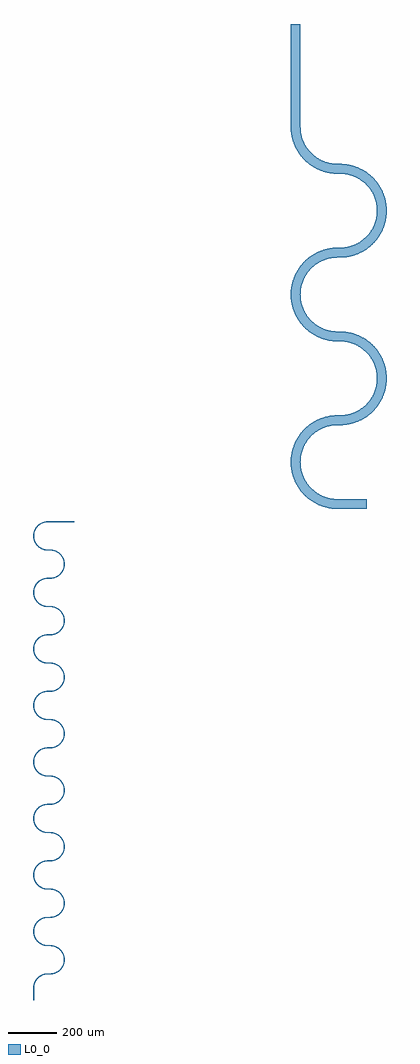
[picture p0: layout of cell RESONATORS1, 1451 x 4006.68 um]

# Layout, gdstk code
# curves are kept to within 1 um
import gdstk
lib = gdstk.Library(unit=1e-6, precision=1e-09)
def P(c, l, *ps):  # polygons
    for p in ps: c.add(gdstk.Polygon(p, *l))
L0_0 = (0, 0)

resonators1 = lib.new_cell('RESONATORS1')
P(resonators1, L0_0, [(1496.954,2524),(1388.5,2524),(1380.274,2523.398),(1374.209,2522.163),(1368.316,2520.272),(1362.666,2517.748),(1357.325,2514.621),(1349.285,2508.175),(1345.071,2503.642),(1341.379,2498.675),(1337.342,2491.482),(1333.837,2481.791),(1332.339,2473.679),(1332.151,2463.376),(1333.352,2455.215),(1335.728,2447.316),(1339.229,2439.848),(1345.071,2431.358),(1350.796,2425.42),(1357.325,2420.379),(1364.518,2416.342),(1370.257,2414.026),(1380.274,2411.602),(1386.437,2411.038),(1405.008,2410.643),(1411.437,2409.577),(1417.128,2408),(1384.157,2408.159),(1375.563,2409.423),(1367.245,2411.926),(1357.504,2416.711),(1348.795,2423.186),(1341.406,2431.135),(1335.584,2440.294),(1331.523,2450.358),(1329.357,2460.992),(1329,2467.5),(1329.357,2474.008),(1331.523,2484.642),(1335.584,2494.706),(1338.877,2500.33),(1342.765,2505.561),(1350.439,2513.235),(1355.67,2517.123),(1361.294,2520.416),(1367.245,2523.074),(1373.45,2525.065),(1379.837,2526.366),(1386.327,2526.96),(1496.954,2527)],
  [(1417.711,2407.813),(1423.755,2405.374),(1429.496,2402.289),(1438.205,2395.814),(1442.814,2391.205),(1446.891,2386.121),(1450.387,2380.62),(1453.261,2374.771),(1456.577,2364.437),(1457.643,2358.008),(1458,2351.5),(1457.643,2344.992),(1456.577,2338.563),(1453.261,2328.229),(1448.123,2318.67),(1441.334,2310.203),(1433.121,2303.109),(1427.62,2299.613),(1421.771,2296.739),(1413.55,2293.935),(1405.008,2292.357),(1369.289,2291.813),(1375.563,2293.577),(1381.992,2294.643),(1400.563,2295.038),(1406.726,2295.602),(1414.778,2297.396),(1422.482,2300.342),(1431.375,2305.549),(1439.175,2312.285),(1445.621,2320.325),(1450.5,2329.403),(1453.163,2337.209),(1454.398,2343.274),(1455,2351.5),(1454.661,2357.679),(1453.648,2363.785),(1451.974,2369.743),(1449.658,2375.482),(1445.621,2382.675),(1441.929,2387.642),(1436.204,2393.58),(1431.375,2397.451),(1426.152,2400.771),(1420.597,2403.5),(1412.791,2406.163),(1406.726,2407.398),(1398.5,2408)],
  [(1382.321,2291.661),(1376.215,2290.648),(1370.257,2288.974),(1364.518,2286.658),(1359.067,2283.728),(1353.969,2280.22),(1349.285,2276.175),(1345.071,2271.642),(1341.379,2266.675),(1338.252,2261.334),(1335.728,2255.684),(1333.837,2249.791),(1332.602,2243.726),(1332.038,2237.563),(1332.151,2231.376),(1332.94,2225.238),(1334.396,2219.222),(1336.5,2213.403),(1339.229,2207.848),(1345.071,2199.358),(1352.358,2192.071),(1357.325,2188.379),(1362.666,2185.252),(1370.257,2182.026),(1378.238,2179.94),(1386.437,2179.038),(1405.008,2178.643),(1411.437,2177.577),(1418.859,2175.398),(1406.726,2175.398),(1400.563,2175.962),(1381.992,2176.357),(1371.358,2178.523),(1361.294,2182.584),(1355.67,2185.877),(1350.439,2189.765),(1342.765,2197.439),(1338.877,2202.67),(1335.584,2208.294),(1331.523,2218.358),(1329.99,2224.693),(1329.159,2231.157),(1329.04,2237.673),(1329.634,2244.163),(1330.935,2250.55),(1333.739,2258.771),(1336.613,2264.62),(1340.109,2270.121),(1344.186,2275.205),(1350.439,2281.235),(1355.67,2285.123),(1361.294,2288.416),(1369.289,2291.813)],
  [(1419.755,2175.074),(1429.496,2170.289),(1434.865,2166.594),(1439.797,2162.334),(1446.891,2154.121),(1450.387,2148.62),(1453.261,2142.771),(1456.577,2132.437),(1457.643,2126.008),(1458,2119.5),(1457.643,2112.992),(1456.577,2106.563),(1454.813,2100.289),(1452.374,2094.245),(1446.891,2084.879),(1439.797,2076.666),(1431.33,2069.877),(1421.771,2064.739),(1413.55,2061.935),(1405.008,2060.357),(1384.376,2059.849),(1376.215,2058.648),(1366.189,2058.648),(1373.45,2061.065),(1381.992,2062.643),(1400.563,2063.038),(1406.726,2063.602),(1412.791,2064.837),(1420.597,2067.5),(1429.675,2072.379),(1437.715,2078.825),(1444.451,2086.625),(1449.658,2095.518),(1453.163,2105.209),(1454.398,2111.274),(1454.962,2117.437),(1454.398,2127.726),(1453.163,2133.791),(1451.272,2139.684),(1447.771,2147.152),(1444.451,2152.375),(1440.58,2157.204),(1434.642,2162.929),(1427.933,2167.728),(1420.597,2171.5),(1412.791,2174.163),(1406.726,2175.398),(1418.859,2175.398)],
  [(1374.209,2058.163),(1368.316,2056.272),(1362.666,2053.748),(1357.325,2050.621),(1352.358,2046.929),(1347.825,2042.715),(1343.78,2038.031),(1340.272,2032.933),(1337.342,2027.482),(1335.026,2021.743),(1333.352,2015.785),(1332.339,2009.679),(1332,2003.5),(1332.94,1993.238),(1334.396,1987.222),(1336.5,1981.403),(1341.379,1972.325),(1347.825,1964.285),(1355.625,1957.549),(1364.518,1952.342),(1372.222,1949.396),(1380.274,1947.602),(1386.437,1947.038),(1400.673,1946.96),(1409.307,1946.01),(1415.642,1944.477),(1423.755,1941.374),(1415.495,1941.374),(1408.762,1943.06),(1402.624,1943.849),(1381.992,1944.357),(1373.45,1945.935),(1365.229,1948.739),(1355.67,1953.877),(1347.203,1960.666),(1340.109,1968.879),(1336.613,1974.38),(1333.739,1980.229),(1331.523,1986.358),(1329.99,1992.693),(1329.159,1999.157),(1329.04,2005.673),(1329.634,2012.163),(1330.935,2018.55),(1332.926,2024.755),(1335.584,2030.706),(1338.877,2036.33),(1342.765,2041.561),(1348.795,2047.814),(1353.879,2051.891),(1359.38,2055.387),(1366.189,2058.648),(1376.215,2058.648)],
  [(1425.706,1940.416),(1431.33,1937.123),(1436.561,1933.235),(1444.235,1925.561),(1448.123,1920.33),(1451.416,1914.706),(1455.477,1904.642),(1457.643,1894.008),(1458,1887.5),(1457.643,1880.992),(1455.477,1870.358),(1453.261,1864.229),(1450.387,1858.38),(1444.235,1849.439),(1436.561,1841.765),(1429.496,1836.711),(1419.755,1831.926),(1411.437,1829.423),(1405.008,1828.357),(1384.376,1827.849),(1376.215,1826.648),(1368.714,1824.416),(1361.294,1824.416),(1369.289,1827.813),(1377.693,1830.01),(1386.327,1830.96),(1404.679,1831.339),(1412.791,1832.837),(1420.597,1835.5),(1429.675,1840.379),(1436.204,1845.42),(1441.929,1851.358),(1447.771,1859.848),(1451.974,1869.257),(1454.398,1879.274),(1454.962,1885.437),(1454.849,1891.624),(1453.163,1901.791),(1450.5,1909.597),(1447.771,1915.152),(1443.22,1922.031),(1439.175,1926.715),(1434.642,1930.929),(1427.933,1935.728),(1422.482,1938.658),(1415.495,1941.374),(1423.755,1941.374)],
  [(1368.316,1824.272),(1362.666,1821.748),(1357.325,1818.621),(1349.285,1812.175),(1345.071,1807.642),(1341.379,1802.675),(1338.252,1797.334),(1335.728,1791.684),(1333.837,1785.791),(1332.602,1779.726),(1332.038,1773.563),(1332.151,1767.376),(1333.837,1757.209),(1335.728,1751.316),(1338.252,1745.666),(1343.78,1736.969),(1350.796,1729.42),(1357.325,1724.379),(1366.403,1719.5),(1374.209,1716.837),(1382.321,1715.339),(1400.673,1714.96),(1409.307,1714.01),(1417.711,1711.813),(1427.41,1707.5),(1420.597,1707.5),(1412.791,1710.163),(1404.679,1711.661),(1386.327,1712.04),(1379.837,1712.634),(1373.45,1713.935),(1367.245,1715.926),(1357.504,1720.711),(1348.795,1727.186),(1341.406,1735.135),(1335.584,1744.294),(1332.926,1750.245),(1330.935,1756.45),(1329.634,1762.837),(1329.04,1769.327),(1329.159,1775.843),(1329.99,1782.307),(1331.523,1788.642),(1333.739,1794.771),(1336.613,1800.62),(1340.109,1806.121),(1344.186,1811.205),(1350.439,1817.235),(1355.67,1821.123),(1361.294,1824.416)],
  [(1427.62,1707.387),(1436.561,1701.235),(1441.334,1696.797),(1445.594,1691.865),(1451.416,1682.706),(1454.074,1676.755),(1456.065,1670.55),(1457.841,1659.843),(1457.96,1653.327),(1457.366,1646.837),(1456.065,1640.45),(1454.074,1634.245),(1449.289,1624.504),(1444.235,1617.439),(1436.561,1609.765),(1429.496,1604.711),(1419.755,1599.926),(1411.437,1597.423),(1405.008,1596.357),(1386.437,1595.962),(1380.274,1595.398),(1370.257,1592.974),(1362.666,1589.748),(1356.653,1589.748),(1365.229,1594.261),(1375.563,1597.577),(1384.157,1598.841),(1404.679,1599.339),(1412.791,1600.837),(1418.684,1602.728),(1426.152,1606.229),(1434.642,1612.071),(1441.929,1619.358),(1446.728,1626.067),(1451.272,1635.316),(1453.163,1641.209),(1454.398,1647.274),(1454.962,1657.563),(1453.648,1667.785),(1451.974,1673.743),(1449.658,1679.482),(1445.621,1686.675),(1441.929,1691.642),(1437.715,1696.175),(1433.031,1700.22),(1426.152,1704.771),(1420.597,1707.5)],
  [(1360.848,1588.771),(1352.358,1582.929),(1347.825,1578.715),(1343.78,1574.031),(1340.272,1568.933),(1337.342,1563.482),(1333.837,1553.791),(1332.151,1543.624),(1332.038,1537.437),(1332.602,1531.274),(1333.837,1525.209),(1335.728,1519.316),(1340.272,1510.067),(1345.071,1503.358),(1352.358,1496.071),(1359.067,1491.272),(1366.403,1487.5),(1374.209,1484.837),(1380.274,1483.602),(1386.437,1483.038),(1402.843,1482.841),(1413.55,1481.065),(1419.755,1479.074),(1425.706,1476.416),(1431.33,1473.123),(1436.291,1469.451),(1431.375,1469.451),(1426.152,1472.771),(1420.597,1475.5),(1410.785,1478.648),(1402.624,1479.849),(1381.992,1480.357),(1375.563,1481.423),(1367.245,1483.926),(1357.504,1488.711),(1350.439,1493.765),(1342.765,1501.439),(1337.711,1508.504),(1332.926,1518.245),(1330.935,1524.45),(1329.634,1530.837),(1329.04,1537.327),(1329.159,1543.843),(1329.99,1550.307),(1331.523,1556.642),(1333.739,1562.771),(1336.613,1568.62),(1340.109,1574.121),(1344.186,1579.205),(1350.439,1585.235),(1356.653,1589.748),(1362.666,1589.748)],
  [(1436.561,1469.235),(1444.235,1461.561),(1448.123,1456.33),(1451.416,1450.706),(1455.477,1440.642),(1457.643,1430.008),(1457.841,1419.157),(1456.065,1408.45),(1454.074,1402.245),(1451.416,1396.294),(1445.594,1387.135),(1439.797,1380.666),(1433.121,1375.109),(1425.706,1370.584),(1419.755,1367.926),(1411.437,1365.423),(1405.008,1364.357),(1384.376,1363.849),(1374.209,1362.163),(1368.316,1360.272),(1362.666,1357.748),(1357.325,1354.621),(1351.669,1350.334),(1347.203,1350.334),(1352.135,1354.594),(1357.504,1358.289),(1365.229,1362.261),(1371.358,1364.477),(1377.693,1366.01),(1384.157,1366.841),(1400.563,1367.038),(1406.726,1367.602),(1412.791,1368.837),(1418.684,1370.728),(1426.152,1374.229),(1433.031,1378.78),(1437.715,1382.825),(1443.22,1388.969),(1448.748,1397.666),(1452.604,1407.222),(1454.661,1417.321),(1454.849,1427.624),(1454.06,1433.762),(1452.604,1439.778),(1450.5,1445.597),(1447.771,1451.152),(1444.451,1456.375),(1440.58,1461.204),(1436.204,1465.58),(1431.375,1469.451)],
  [(1350.796,1349.58),(1343.78,1342.031),(1338.252,1333.334),(1334.396,1323.778),(1332.339,1313.679),(1332.151,1303.376),(1333.837,1293.209),(1337.342,1283.518),(1340.272,1278.067),(1343.78,1272.969),(1347.825,1268.285),(1353.969,1262.78),(1360.848,1258.229),(1366.403,1255.5),(1374.209,1252.837),(1380.274,1251.602),(1386.437,1251.038),(1405.008,1250.643),(1411.437,1249.577),(1417.711,1247.813),(1425.706,1244.416),(1433.121,1239.891),(1438.205,1235.814),(1444.235,1229.561),(1440.248,1229.561),(1434.642,1234.929),(1427.933,1239.728),(1420.597,1243.5),(1414.778,1245.604),(1408.762,1247.06),(1402.624,1247.849),(1386.327,1248.04),(1379.837,1248.634),(1373.45,1249.935),(1365.229,1252.739),(1357.504,1256.711),(1352.135,1260.406),(1347.203,1264.666),(1341.406,1271.135),(1335.584,1280.294),(1332.926,1286.245),(1330.935,1292.45),(1329.159,1303.157),(1329.357,1314.008),(1330.423,1320.437),(1332.187,1326.711),(1334.626,1332.755),(1337.711,1338.496),(1342.765,1345.561),(1347.203,1350.334),(1351.669,1350.334)],
  [(1445.594,1227.865),(1451.416,1218.706),(1455.477,1208.642),(1457.366,1200.163),(1457.96,1189.327),(1456.577,1178.563),(1453.261,1168.229),(1449.289,1160.504),(1442.814,1151.795),(1436.561,1145.765),(1429.496,1140.711),(1421.771,1136.739),(1415.642,1134.523),(1409.307,1132.99),(1402.843,1132.159),(1386.437,1131.962),(1380.274,1131.398),(1374.209,1130.163),(1366.403,1127.5),(1359.067,1123.728),(1352.358,1118.929),(1346.42,1113.204),(1342.549,1108.375),(1338.908,1108.375),(1344.186,1115.205),(1350.439,1121.235),(1357.504,1126.289),(1365.229,1130.261),(1373.183,1132.99),(1379.837,1134.366),(1386.327,1134.96),(1402.624,1135.151),(1408.762,1135.94),(1414.778,1137.396),(1422.482,1140.342),(1429.675,1144.379),(1434.642,1148.071),(1440.58,1153.796),(1445.621,1160.325),(1450.5,1169.403),(1453.163,1177.209),(1454.849,1187.376),(1454.619,1198.008),(1453.648,1203.785),(1451.974,1209.743),(1449.658,1215.482),(1446.728,1220.933),(1440.248,1229.561),(1444.235,1229.561)],
  [(1341.379,1106.675),(1337.342,1099.482),(1333.837,1089.791),(1332.339,1081.679),(1332.151,1071.376),(1333.837,1061.209),(1336.5,1053.403),(1341.379,1044.325),(1346.42,1037.796),(1352.358,1032.071),(1357.325,1028.379),(1364.518,1024.342),(1372.222,1021.396),(1378.238,1019.94),(1384.376,1019.151),(1400.673,1018.96),(1407.163,1018.366),(1415.642,1016.477),(1423.755,1013.374),(1433.121,1007.891),(1439.797,1002.334),(1445.594,995.865),(1451.176,987.152),(1447.771,987.152),(1441.929,995.642),(1436.204,1001.58),(1429.675,1006.621),(1422.482,1010.658),(1414.778,1013.604),(1406.726,1015.398),(1400.563,1015.962),(1381.992,1016.357),(1375.563,1017.423),(1369.289,1019.187),(1361.294,1022.584),(1355.67,1025.877),(1350.439,1029.765),(1344.186,1035.795),(1337.711,1044.504),(1333.739,1052.229),(1330.423,1062.563),(1329.04,1073.327),(1329.634,1084.163),(1330.935,1090.55),(1332.926,1096.755),(1335.584,1102.706),(1338.908,1108.375),(1342.549,1108.375)],
  [(1451.416,986.706),(1455.477,976.642),(1457.366,968.163),(1458,959.5),(1457.366,950.837),(1455.477,942.358),(1451.416,932.294),(1446.891,924.879),(1441.334,918.203),(1436.561,913.765),(1429.496,908.711),(1421.771,904.739),(1415.642,902.523),(1409.307,900.99),(1402.843,900.159),(1386.437,899.962),(1380.274,899.398),(1370.257,896.974),(1362.666,893.748),(1353.969,888.22),(1347.825,882.715),(1343.78,878.031),(1340.272,872.933),(1337.342,867.482),(1335.026,861.743),(1331.876,861.743),(1333.739,866.771),(1336.613,872.62),(1342.765,881.561),(1350.439,889.235),(1359.38,895.387),(1367.245,899.074),(1377.693,902.01),(1386.327,902.96),(1402.624,903.151),(1408.762,903.94),(1414.778,905.396),(1420.597,907.5),(1427.933,911.272),(1434.642,916.071),(1439.175,920.285),(1444.451,926.625),(1448.748,933.666),(1451.974,941.257),(1454.06,949.238),(1455,959.5),(1454.398,967.726),(1451.974,977.743),(1447.771,987.152),(1451.176,987.152)],
  [(1334.396,859.778),(1332.602,851.726),(1332,843.5),(1332.602,835.274),(1333.837,829.209),(1336.5,821.403),(1339.229,815.848),(1343.78,808.969),(1349.285,802.825),(1353.969,798.78),(1360.848,794.229),(1366.403,791.5),(1372.222,789.396),(1378.238,787.94),(1384.376,787.151),(1400.673,786.96),(1409.307,786.01),(1419.755,783.074),(1429.496,778.289),(1434.865,774.594),(1439.797,770.334),(1444.235,765.561),(1448.123,760.33),(1451.416,754.706),(1454.074,748.755),(1457.1,737.762),(1454.06,737.762),(1452.604,743.778),(1449.976,750.771),(1446.728,756.933),(1443.22,762.031),(1439.175,766.715),(1434.642,770.929),(1426.152,776.771),(1416.743,780.974),(1408.762,783.06),(1400.563,783.962),(1381.992,784.357),(1371.358,786.523),(1365.229,788.739),(1357.504,792.711),(1352.135,796.406),(1347.203,800.666),(1341.406,807.135),(1336.613,814.38),(1332.926,822.245),(1330.423,830.563),(1329.04,841.327),(1329.634,852.163),(1331.876,861.743),(1335.026,861.743)],
  [(1457.366,736.163),(1458,727.5),(1457.366,718.837),(1456.065,712.45),(1453.261,704.229),(1449.289,696.504),(1445.594,691.135),(1441.334,686.203),(1434.865,680.406),(1425.706,674.584),(1419.755,671.926),(1413.55,669.935),(1402.843,668.159),(1382.321,667.661),(1374.209,666.163),(1368.316,664.272),(1360.848,660.771),(1353.969,656.22),(1347.825,650.715),(1342.549,644.375),(1339.229,639.152),(1335.728,631.684),(1333.837,625.791),(1332.602,619.726),(1332,611.5),(1332,562.281),(1329,562.281),(1329,611.5),(1329.634,620.163),(1330.935,626.55),(1333.739,634.771),(1336.613,640.62),(1340.109,646.121),(1345.666,652.797),(1352.135,658.594),(1359.38,663.387),(1367.245,667.074),(1375.563,669.577),(1381.992,670.643),(1402.624,671.151),(1410.785,672.352),(1416.743,674.026),(1422.482,676.342),(1427.933,679.272),(1433.031,682.78),(1437.715,686.825),(1441.929,691.358),(1445.621,696.325),(1449.658,703.518),(1452.604,711.222),(1454.398,719.274),(1455,727.5),(1454.06,737.762),(1457.1,737.762)],
  [(2698.209,2618.4),(2562.32,2619.211),(2531.627,2625.646),(2500.193,2639.824),(2479.763,2654.411),(2464.066,2669.786),(2449.06,2689.911),(2437.57,2712.232),(2429.911,2736.139),(2426.519,2757.848),(2426.519,2782.952),(2430.103,2805.453),(2389.227,2805.453),(2386.04,2774.317),(2387.436,2746.958),(2392.712,2720.076),(2401.76,2694.22),(2414.395,2669.913),(2432.896,2644.667),(2455.253,2622.761),(2477.513,2606.795),(2494.694,2597.414),(2516.438,2588.537),(2554.558,2579.836),(2578,2578.4),(2698.209,2578.4)],
  [(2430.651,2807.714),(2440.094,2834.321),(2456.147,2861.261),(2477.386,2884.334),(2502.909,2902.556),(2525.685,2913.114),(2549.888,2919.778),(2568.581,2922.108),(2611.442,2923.836),(2642.093,2930.177),(2674.817,2943.149),(2706.33,2963.211),(2603.68,2963.211),(2554.558,2960.964),(2516.438,2952.263),(2484.27,2937.967),(2458.29,2920.512),(2435.491,2899.067),(2414.395,2870.887),(2400.243,2842.97),(2389.227,2805.453),(2430.103,2805.453)],
  [(2707.71,2964.288),(2730.509,2985.733),(2751.605,3013.913),(2767.201,3045.471),(2776.773,3079.347),(2780,3114.4),(2777.449,3145.595),(2768.569,3179.659),(2754.37,3210.219),(2705.994,3210.219),(2718.576,3192.207),(2729.602,3169.653),(2736.089,3148.661),(2739.708,3123.819),(2739.481,3101.848),(2735.349,3077.086),(2727.198,3053.342),(2716.94,3033.911),(2695.48,3006.92),(2668.489,2985.46),(2637.354,2970.636),(2603.68,2963.211),(2706.33,2963.211)],
  [(2753.62,3211.528),(2735.639,3237.147),(2710.747,3262.039),(2685.128,3280.02),(2656.929,3293.601),(2638.324,3299.688),(2615.324,3304.446),(2562.32,3307.211),(2537.649,3311.854),(2508.434,3323.253),(2482.181,3340.406),(2426.548,3340.406),(2443.627,3321.258),(2464.512,3303.53),(2484.27,3290.833),(2509.071,3279.199),(2527.676,3273.112),(2550.676,3268.354),(2603.68,3265.589),(2628.351,3260.946),(2649.058,3253.598),(2671.136,3241.649),(2688.614,3228.334),(2705.994,3210.219),(2754.37,3210.219)],
  [(2479.763,3342.411),(2466.17,3355.453),(2454.295,3370.076),(2442.853,3388.834),(2435.286,3406.085),(2429.911,3424.139),(2426.811,3442.72),(2426.032,3461.541),(2427.588,3480.315),(2432.319,3501.771),(2438.802,3519.458),(2447.424,3536.207),(2458.051,3551.76),(2470.52,3565.88),(2484.64,3578.349),(2500.193,3588.976),(2518.483,3598.255),(2446.453,3598.255),(2423.13,3571.888),(2406.749,3545.217),(2394.919,3516.239),(2387.954,3485.724),(2386.04,3454.483),(2389.981,3419.503),(2400.243,3385.83),(2416.479,3354.597),(2426.548,3340.406),(2482.181,3340.406)],
  [(2519.832,3598.83),(2537.649,3604.946),(2556.085,3608.812),(2603.65,3611.039),(2630.724,3615.214),(2656.929,3623.199),(2681.73,3634.833),(2710.747,3654.761),(2735.639,3679.653),(2755.567,3708.67),(2769.037,3738.479),(2725.906,3738.479),(2711.705,3714.076),(2693.236,3692.721),(2668.489,3673.46),(2643.253,3660.798),(2609.915,3651.988),(2562.35,3649.761),(2535.276,3645.586),(2509.071,3637.601),(2484.27,3625.967),(2464.512,3613.27),(2446.453,3598.255)],
  [(2769.863,3740.838),(2777.449,3771.205),(2779.96,3798.483),(2778.564,3825.842),(2773.288,3852.724),(2764.24,3878.58),(2751.605,3902.887),(2735.639,3925.147),(2716.667,3944.909),(2697.472,3960.124),(2531.467,3960.124),(2562.35,3955.039),(2606.801,3953.233),(2631.371,3948.081),(2663.091,3934.556),(2690.947,3914.23),(2707.949,3895.76),(2721.68,3874.744),(2730.714,3854.715),(2737.378,3830.512),(2739.968,3805.541),(2738.833,3783.599),(2733.681,3759.029),(2725.906,3738.479),(2769.037,3738.479)],
  [(2695.076,3961.77),(2664.18,3978.64),(2634.533,3988.676),(2607.55,3993.402),(2553.304,3996.42),(2535.177,4000.557),(2514.857,4008.136),(2493.231,4020.232),(2473.858,4035.682),(2457.253,4054.073),(2442.427,4077.67),(2431.314,4106.561),(2426.126,4140.2),(2426,4568.958),(2386,4568.958),(2386.16,4138.569),(2387.954,4119.076),(2392.712,4096.076),(2406.749,4059.583),(2427.888,4026.69),(2452.267,4001.296),(2484.27,3978.833),(2516.438,3964.537),(2531.467,3960.124),(2697.472,3960.124)])

lib.write_gds('RESONATORS1.gds')
